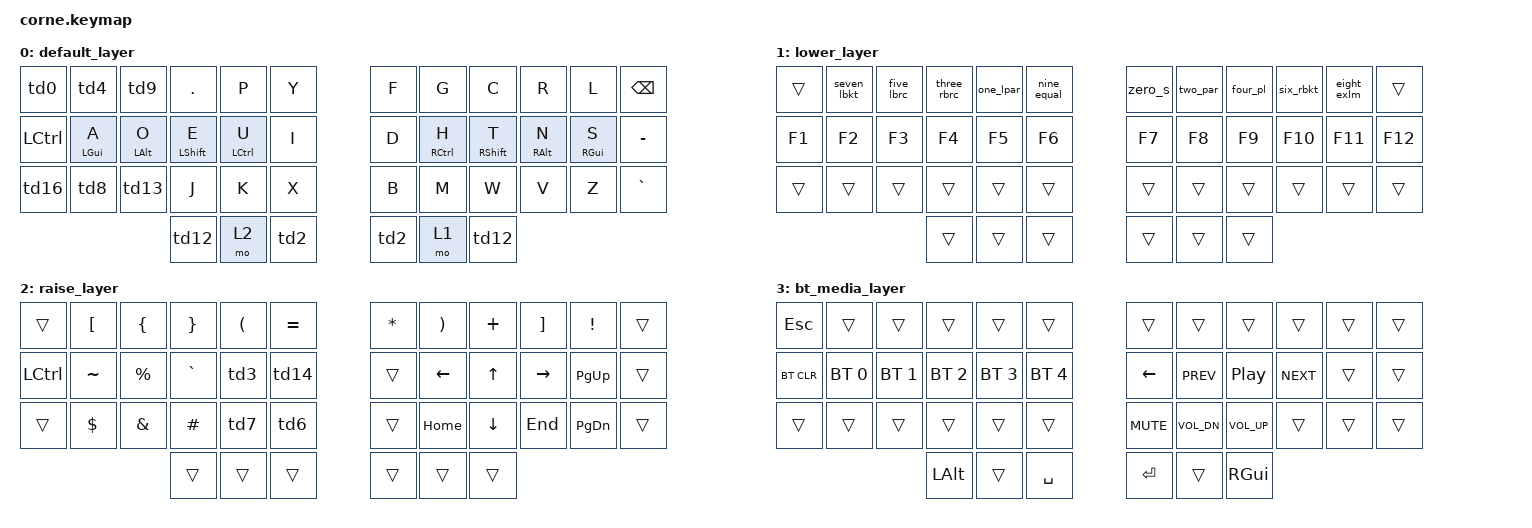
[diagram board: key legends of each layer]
/*
 * Copyright (c) 2020 The ZMK Contributors
 *
 * SPDX-License-Identifier: MIT
 */

#include <behaviors.dtsi>
#include <dt-bindings/zmk/keys.h>
#include <dt-bindings/zmk/bt.h>
#include <dt-bindings/zmk/behaviors.h>
#include "zmk-helpers/key-labels/42.h"

#define BASE 0
#define NAV 1
#define SYM 2
#define BT 3
#define KEYS_L LT0 LT1 LT2 LT3 LT4 LM0 LM1 LM2 LM3 LM4 LB0 LB1 LB2 LB3 LB4
#define KEYS_R RT0 RT1 RT2 RT3 RT4 RM0 RM1 RM2 RM3 RM4 RB0 RB1 RB2 RB3 RB4
#define THUMBS LH0 LH1 LH2 RH0 RH1 RH2


// TAP_DANCE settings
#define TAP_SPEED 200
#define MT_SPEED_RIGHT 300

// MACROS to make the the code easier to read
// include name or reference in keymap
// Format:
//      name        reference  key1 key2
#define TD_TAB      &td0    // TAB ESC
#define TD_CAPLOCK  &td1    // LSHIFT CAPSLOCK
#define TD_SPC      &td2    // SPACE ENTER
#define TD_SLSH     &td3    // SLASH QMARK
#define TD_QUOTE    &td4    // QUOTE DOUBLE_QUOTES
#define TD_EQL      &td5    // EQUAL PLUS
#define TD_BSLS     &td6    // BACKSLASH PIPE
#define TD_MINUS    &td7    // MINUS UNDERSCORE
#define TD_SCLN     &td8    // SEMICOLON COLON
#define TD_COMM     &td9    // COMMA LESS_THAN
#define TD_DOT      &td10   // PERIOD GREATER_THAN
#define TD_BACKF    &td11   // GRAVE TILDE
#define TD_ALT      &td12   // LGUI LALT
#define TD_ARR      &td13   // Q AT (@)
#define TD_ATCAT    &td14   // AT CARET
#define TD_TAW      &td15   // TAB LWIN
#define TD_SCLOCK   &td16   // (S)LSHIFT CAPSLOCK (Sticky shift)

// include &name in keymap to use
// FORMAT
//   natural --> (on shift)
//   number --> symbols | number code --> symbol code
// one_lpar    1 --> (  | N1 --> LPAR
// two_par     2 --> )  | N2 --> RPAR
// three_rbrc  3 --> }  | N3 --> RBRC
// four_pl     4 --> ]  | N4 --> PLUS
// five_lbrc   5 --> {  | N5 --> RSFT
// six_rbkt    6 --> ]  | N6 --> RBKT
// seven_lbkt  7 --> [  | N7 --> LBKT
// eight_exlm  8 --> !  | N8 --> EXCL
// nine_equal  9 --> =  | N9 --> EQUAL
// zero_s      0 --> *  | N0 --> STAR

/*
// Sticky key config if desired
&sk {
    //release-after-ms = <2000>;
    quick-release;
};
*/

&mt {
    tapping-term-ms = <MT_SPEED_RIGHT>;
};


/ {
    behaviors{
        // Create home row mod

        hml: home_row_mod_left {
            compatible = "zmk,behavior-hold-tap";
            #binding-cells = <2>;
            flavor = "balanced";
            require-prior-idle-ms = <150>;
            tapping-term-ms = <280>;
            quick-tap-ms = <175>;
            bindings = <&kp>, <&kp>;
            hold-trigger-key-positions = <KEYS_R THUMBS>;
            hold-trigger-on-release;
        };

        hmr: home_row_mod_right {
            compatible = "zmk,behavior-hold-tap";
            #binding-cells = <2>;
            flavor = "balanced";
            require-prior-idle-ms = <150>;
            tapping-term-ms = <280>;
            quick-tap-ms = <175>;
            bindings = <&kp>, <&kp>;
            hold-trigger-key-positions = <KEYS_L THUMBS>;
            hold-trigger-on-release;
        };

        td0: tap_dance_0 {
            compatible = "zmk,behavior-tap-dance";
            label = "TAP_DANCE_0";
            #binding-cells = <0>;
            tapping-term-ms = <TAP_SPEED>;
            bindings = <&kp TAB>, <&kp ESC>;

            };
        td1: tap_dance_1 {
            compatible = "zmk,behavior-tap-dance";
            label = "TAP_DANCE_1";
            #binding-cells = <0>;
            tapping-term-ms = <TAP_SPEED>;
            bindings = <&kp LSHIFT>, <&kp CAPSLOCK>;
            };
        td2: tap_dance_2 {
            compatible = "zmk,behavior-tap-dance";
            label = "TAP_DANCE_2";
            #binding-cells = <0>;
            tapping-term-ms = <TAP_SPEED>;
            bindings = <&kp SPACE>, <&kp ENTER>;
            };
        td3: tap_dance_3 {
            compatible = "zmk,behavior-tap-dance";
            label = "TAP_DANCE_3";
            #binding-cells = <0>;
            tapping-term-ms = <TAP_SPEED>;
            bindings = <&kp SLASH>, <&kp QMARK>;
            };
        td4: tap_dance_4 {
            compatible = "zmk,behavior-tap-dance";
            label = "TAP_DANCE_4";
            #binding-cells = <0>;
            tapping-term-ms = <TAP_SPEED>;
            bindings = <&kp SINGLE_QUOTE>, <&kp DOUBLE_QUOTES>;
            };
        td5: tap_dance_5 {
            compatible = "zmk,behavior-tap-dance";
            label = "TAP_DANCE_5";
            #binding-cells = <0>;
            tapping-term-ms = <TAP_SPEED>;
            bindings = <&kp EQUAL>, <&kp PLUS>;
            };
        td6: tap_dance_6 {
            compatible = "zmk,behavior-tap-dance";
            label = "TAP_DANCE_6";
            #binding-cells = <0>;
            tapping-term-ms = <TAP_SPEED>;
            bindings = <&kp BACKSLASH>, <&kp PIPE>;
            };
        td7: tap_dance_7 {
            compatible = "zmk,behavior-tap-dance";
            label = "TAP_DANCE_7";
            #binding-cells = <0>;
            tapping-term-ms = <TAP_SPEED>;
            bindings = <&kp MINUS>, <&kp UNDERSCORE>;
            };
        td8: tap_dance_8 {
            compatible = "zmk,behavior-tap-dance";
            label = "TAP_DANCE_8";
            #binding-cells = <0>;
            tapping-term-ms = <TAP_SPEED>;
            bindings = <&kp SEMICOLON>, <&kp COLON>;
            };
        td9: tap_dance_9 {
            compatible = "zmk,behavior-tap-dance";
            label = "TAP_DANCE_9";
            #binding-cells = <0>;
            tapping-term-ms = <TAP_SPEED>;
            bindings = <&kp COMMA>, <&kp LESS_THAN>;
            };
        td10: tap_dance_10 {
            compatible = "zmk,behavior-tap-dance";
            label = "TAP_DANCE_10";
            #binding-cells = <0>;
            tapping-term-ms = <TAP_SPEED>;
            bindings = <&kp PERIOD>, <&kp GREATER_THAN>;
            };
        td11: tap_dance_11 {
            compatible = "zmk,behavior-tap-dance";
            label = "TAP_DANCE_11";
            #binding-cells = <0>;
            tapping-term-ms = <TAP_SPEED>;
            bindings = <&kp GRAVE>, <&kp TILDE>;
            };

        td12: tap_dance_12 {
            compatible = "zmk,behavior-tap-dance";
            label = "TAP_DANCE_12";
            #binding-cells = <0>;
            tapping-term-ms = <TAP_SPEED>;
            bindings = <&kp LGUI>, <&kp LALT>;
            };
        td13: tap_dance_13 {
            compatible = "zmk,behavior-tap-dance";
            label = "TAP_DANCE_13";
            #binding-cells = <0>;
            tapping-term-ms = <TAP_SPEED>;
            bindings = <&kp Q>, <&kp AT>;
            };
        td14: tap_dance_14 {
            compatible = "zmk,behavior-tap-dance";
            label = "TAP_DANCE_14";
            #binding-cells = <0>;
            tapping-term-ms = <TAP_SPEED>;
            bindings = <&kp AT>, <&kp CARET>;
            };
        td15: tap_dance_15 {
            compatible = "zmk,behavior-tap-dance";
            label = "TAP_DANCE_15";
            #binding-cells = <0>;
            tapping-term-ms = <TAP_SPEED>;
            bindings = <&kp TAB>, <&kp LWIN>;
            };
        td16: tap_dance_16 {
            compatible = "zmk,behavior-tap-dance";
            label = "TAP_DANCE_16";
            #binding-cells = <0>;
            tapping-term-ms = <TAP_SPEED>;
            bindings = <&sk LSHIFT>, <&kp CAPSLOCK>;
            };

        // create the shifts of dvorak
        seven_lbkt: seven_lbkt{
                compatible = "zmk,behavior-mod-morph";
                label="SEVEN_LBKT";
                #binding-cells = <0>;
                bindings = <&kp N7>, <&kp LBKT>;
                mods=<(MOD_LSFT|MOD_RSFT)>;
            };
        five_lbrc: five_lbrc {
                compatible = "zmk,behavior-mod-morph";
                label="FIVE_LBRC";
                #binding-cells = <0>;
                bindings = <&kp N5>,<&kp LBRC>;
                mods=<(MOD_LSFT|MOD_RSFT)>;
        };
        three_rbrc: three_rbrc {
                compatible = "zmk,behavior-mod-morph";
                label="THREE_RBRC";
                #binding-cells = <0>;
                bindings = <&kp N3>,<&kp RBRC>;
                mods=<(MOD_LSFT|MOD_RSFT)>;
        };
        one_lpar: one_lpar {
                compatible = "zmk,behavior-mod-morph";
                label="ONE_LPAR";
                #binding-cells = <0>;
                bindings = <&kp N1>,<&kp LPAR>;
                mods=<(MOD_LSFT|MOD_RSFT)>;
        };
        nine_equal: nine_equal {
                compatible = "zmk,behavior-mod-morph";
                label="nine_equal";
                #binding-cells = <0>;
                bindings = <&kp N9>,    <&kp EQUAL>;
                mods=<(MOD_LSFT|MOD_RSFT)>;
        };
        zero_s: zero_star {
                compatible = "zmk,behavior-mod-morph";
                label="ZERO_STAR";
                #binding-cells = <0>;
                bindings = <&kp N0>, <&kp STAR>;
                mods=<(MOD_LSFT|MOD_RSFT)>;
            };
        two_par: two_paren {
                compatible = "zmk,behavior-mod-morph";
                label="TWO_PAR";
                #binding-cells = <0>;
                bindings = <&kp N2>,<&kp RPAR>;
                mods=<(MOD_LSFT|MOD_RSFT)>;
        };
        four_pl: four_plus {
                compatible = "zmk,behavior-mod-morph";
                label="FOUR_PLUS";
                #binding-cells = <0>;
                bindings = <&kp N4>,<&kp PLUS>;
                mods=<(MOD_LSFT|MOD_RSFT)>;
        };
        six_rbkt: six_rbkt {
                compatible = "zmk,behavior-mod-morph";
                label="six_rbkt";
                #binding-cells = <0>;
                bindings = <&kp N6>,<&kp RBKT>;
                mods=<(MOD_LSFT|MOD_RSFT)>;
        };
        eight_exlm: eight_exlm {
                compatible = "zmk,behavior-mod-morph";
                label="EIGHT_EXLM";
                #binding-cells = <0>;
                bindings = <&kp N8>,    <&kp EXCL>;
                mods=<(MOD_LSFT|MOD_RSFT)>;
        };
    };

    // LAYERS
    conditional_layers {
        compatible = "zmk,conditional-layers";
        tri_layer {
            if-layers = <1 2>;
            then-layer = <3>;
        };
    };
        keymap {
                compatible = "zmk,keymap";

                default_layer {
// -----------------------------------------------------------------------------------------
// |TAB:ESC   | ' " | , < | . > |  P  |  Y  |         | F   |  G   |  C  |  R  |  L  | BKSP |
// | CTRL     |  A  |  O  |  E  |  U  |  I  |         |  D  |  H   |  T  |  N  |  S  | -_   |
// | LSFT:CAP | :;  | q @ | J   | K   |  X  |         |  B  |  M   |  W  |  V  |  Z  | `    |
//                        | CMD | LWR | SPC |         | ENT | RSE  | CMD |
                        bindings = <
   TD_TAB       TD_QUOTE        TD_COMM         &kp PERIOD      &kp P           &kp Y       &kp F       &kp G           &kp C           &kp R           &kp L           &kp BSPC
   &kp LCTRL    &hml LGUI A     &hml LALT O     &hml LSHIFT E   &hml LCTRL U    &kp I       &kp D       &hmr RCTRL H    &hmr RSHIFT T   &hmr RALT N     &hmr RGUI S     &kp MINUS
   TD_SCLOCK    TD_SCLN         TD_ARR          &kp J           &kp K           &kp X       &kp B       &kp M           &kp W           &kp V           &kp Z           &kp GRAVE
                                            TD_ALT      &mo 2   TD_SPC      TD_SPC  &mo 1   TD_ALT
                        >;
                };
                lower_layer {
// -----------------------------------------------------------------------------------------
// |  ESC   |  7   |  5  |  3  |  1  |  9  |            |  0  |  2  |  4  |  6  |  8  | BKSP |
// | F1     |  F2  |  F3 |  F4 |  F5 |  F6 |            | F7  | F8  | F9  | F10 | F11 | F12  |
// | SHFT   |      |     |     |     |     |            |     |     |     |     |     |      |
//                       |     |     |     |            |     |     |     |
                        bindings = <
   &trans     &seven_lbkt   &five_lbrc  &three_rbrc &one_lpar   &nine_equal          &zero_s    &two_par    &four_pl    &six_rbkt   &eight_exlm &trans
   &kp F1     &kp F2        &kp F3      &kp F4      &kp F5      &kp F6               &kp F7     &kp F8      &kp F9      &kp F10     &kp F11     &kp F12
   &trans     &trans        &trans      &trans      &trans      &trans               &trans     &trans      &trans      &trans      &trans      &trans
                          	            &trans      &trans      &trans               &trans     &trans      &trans
                        >;
                };

                raise_layer {
// -----------------------------------------------------------------------------------------
// |  ESC |  [  |  {  |  }  |  (  |  =  |       |  *  |  )  |  +  |  ]  |  !   | DEL  |
// | CTRL |  ~  |  %  |  `  | / ? | @ ^ |       |     | LFT | UP  | RGT | PGUP |      |
// | SHFT |  $  |  &  |  #  | - _ | \ | |       |     | HOME| DWN | END | PGDN |      |
//                    | ALT |     | SPC |       | ENT |     | CMD |
                        bindings = <
   &trans     &kp LBKT    &kp LBRC     &kp RBRC     &kp LPAR    &kp EQUAL       &kp STAR    &kp RPAR  &kp PLUS      &kp RBKT    &kp EXCL    &trans
   &kp LCTRL  &kp TILDE   &kp PRCNT    &kp GRAVE    TD_SLSH     TD_ATCAT        &trans      &kp LEFT  &kp UP        &kp RIGHT   &kp PG_UP   &trans
   &trans     &kp DLLR    &kp AMPS     &kp HASH     TD_MINUS    TD_BSLS         &trans      &kp HOME  &kp DOWN      &kp END     &kp PG_DN   &trans
                    	               &trans       &trans      &trans          &trans      &trans    &trans
                        >;
                };


// bt_media_layer: BT functions and media controls
                bt_media_layer {
// -----------------------------------------------------------------------------------------
// |  ESC |     |     |     |     |     |   |         |     |         |     |   |      |
// | BTCLR| BT1 | BT2 | BT3 | BT4 | BT5 |   | LFT     | PRV |  Play/P | NXT |   |      |
// | SHFT |     |     |     |     |     |   | MUTE    | VOL-| VOL+|   |     |   |      |
//                    | ALT |     | SPC |   | ENT     |     | CMD |
                        bindings = <
   &kp ESC    &trans       &trans       &trans       &trans       &trans                &trans          &trans         &trans       &trans     &trans &trans
   &bt BT_CLR &bt BT_SEL 0 &bt BT_SEL 1 &bt BT_SEL 2 &bt BT_SEL 3 &bt BT_SEL 4          &kp LEFT        &kp C_PREV     &kp C_PP     &kp C_NEXT &trans &trans
   &trans  &trans       &trans       &trans       &trans       &trans                &kp C_MUTE      &kp C_VOL_DN   &kp C_VOL_UP &trans     &trans &trans
                          	            &kp LALT     &trans       &kp SPACE             &kp RET         &trans          &kp RGUI
                        >;
                };


        };
};
